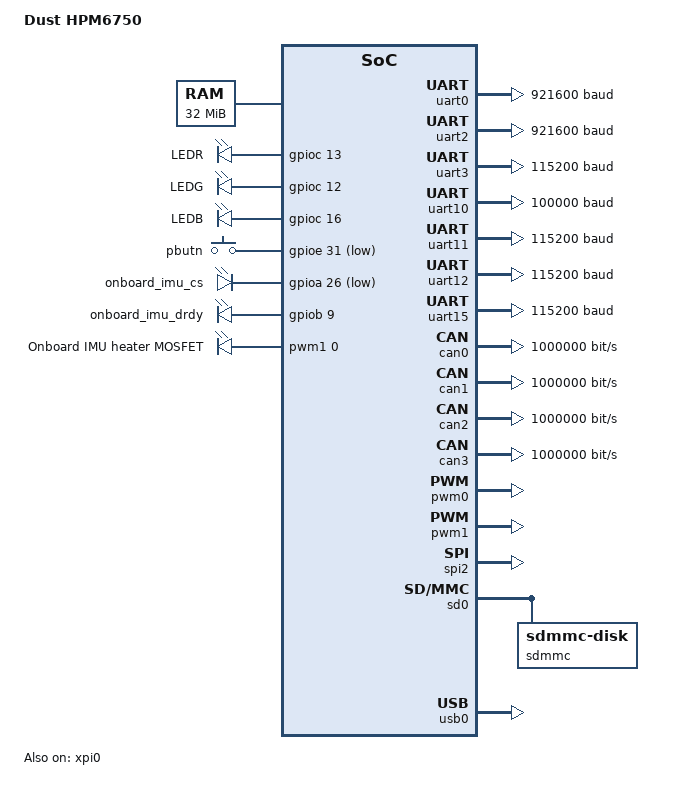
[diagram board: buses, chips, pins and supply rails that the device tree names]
/*
 * Copyright 2024-2025 HPMicro
 * SPDX-License-Identifier: Apache-2.0
 */

/dts-v1/;

#include <hpmicro/hpm6750.dtsi>
#include "dust-hpm6750-pinctrl.dtsi"
#include <zephyr/dt-bindings/display/panel.h>
#include <zephyr/dt-bindings/input/input-event-codes.h>
#include <zephyr/dt-bindings/pwm/pwm.h>

/ {
	model = "Dust HPM6750";
	compatible = "dust,hpm6750";

	aliases {
		led0 = &led_r;
		led1 = &led_g;
		led2 = &led_b;
		sw0 = &pbutn;
		canbus = &can2;
		sdhc0 = &sd0;
		coredump-partition = &coredump_partition;
		onboard-imu-cs = &onboard_imu_cs;
		onboard-imu-drdy = &onboard_imu_drdy;
		onboard-imu-heater = &onboard_imu_heater;
	};

	chosen {
		zephyr,console = &uart0;
		zephyr,shell-uart = &uart0;
		zephyr,sram = &sram;
		zephyr,flash = &flash0;
		zephyr,itcm = &ilm;
		zephyr,dtcm = &dlm;
		zephyr,code-partition = &slot0_partition;
		zephyr,flash-controller = &xpi0;
		zephyr,canbus = &can2;
		wbr-control,remote-input-uart = &uart10;
		wbr-control,oscilloscope-uart = &uart0;
		wbr-control,hi91-uart = &uart2;
		wbr-control,onboard-imu-spi = &spi2;
	};

	dram: memory@40000000 {
		device_type = "memory";
		reg = <0x40000000 DT_SIZE_M(32)>;
	};

	leds {
		compatible = "gpio-leds";
		led_r: led_r {
			gpios = <&gpioc 13 (GPIO_PULL_DOWN | GPIO_ACTIVE_HIGH)>;
			label = "LEDR";
		};
		led_g: led_g {
			gpios = <&gpioc 12 (GPIO_PULL_DOWN | GPIO_ACTIVE_HIGH)>;
			label = "LEDG";
		};
		led_b: led_b {
			gpios = <&gpioc 16 (GPIO_PULL_DOWN | GPIO_ACTIVE_HIGH)>;
			label = "LEDB";
		};
	};

	gpio_keys {
		compatible = "gpio-keys";
		pbutn: pbutn {
			gpios = <&gpioe 31 (GPIO_PULL_UP | GPIO_ACTIVE_LOW)>;
			zephyr,code = <INPUT_KEY_0>;
		};
	};

	onboard_imu_gpios {
		compatible = "gpio-leds";

		onboard_imu_cs: onboard_imu_cs {
			gpios = <&gpioa 26 GPIO_ACTIVE_LOW>;
		};

		/* ICM42688P-HXY INT1: active-high data-ready input. */
		onboard_imu_drdy: onboard_imu_drdy {
			gpios = <&gpiob 9 GPIO_ACTIVE_HIGH>;
		};
	};

	pwm_outputs {
		compatible = "pwm-leds";
		onboard_imu_heater: onboard_imu_heater {
			pwms = <&pwm1 0 PWM_KHZ(20) PWM_POLARITY_NORMAL>;
			label = "Onboard IMU heater MOSFET";
		};
	};

};

&rgb0 {
	endpoint_in = <&lcdc0>;
};



&uart0 {
	status = "okay";
	current-speed = <921600>;
	pinctrl-0 = <&pinmux_uart0>;
	pinctrl-names = "default";
	interrupts = <31 1>;
	interrupt-names = "uart";
	/*
	 * UART0 carries VOFA telemetry. HDMA channels are fully occupied by
	 * SPI2, UART2, UART3 and UART10, so use free XDMA channels 0/1.
	 * HPM6750 DMAMUX sources 8 and 9 are UART0 RX and TX respectively.
	 */
	dmas = <&xdma 0 8>, <&xdma 1 9>;
	dma-names = "rx", "tx";
};

&uart2 {
	status = "okay";
	current-speed = <921600>;
	pinctrl-0 = <&pinmux_uart2>;
	pinctrl-names = "default";
	interrupts = <33 1>;
	interrupt-names = "uart";
	dmas = <&hdma 2 12>, <&hdma 3 13>;
	dma-names = "rx", "tx";
};

&uart3 {
	status = "okay";
	current-speed = <115200>;
	pinctrl-0 = <&pinmux_uart3>;
	pinctrl-names = "default";
	interrupts = <34 1>;
	interrupt-names = "uart";
	dmas = <&hdma 4 14>, <&hdma 5 15>;
	dma-names = "rx", "tx";
};

&uart10 {
	status = "okay";
	current-speed = <100000>;
	parity = "even";
	stop-bits = "2";
	pinctrl-0 = <&pinmux_uart10>;
	pinctrl-names = "default";
	interrupts = <41 1>;
	interrupt-names = "uart";
	dmas = <&hdma 6 28>, <&hdma 7 29>;
	dma-names = "rx", "tx";
};

&uart11 {
	status = "okay";
	current-speed = <115200>;
	pinctrl-0 = <&pinmux_uart11>;
	pinctrl-names = "default";
	interrupts = <42 1>;
	interrupt-names = "uart";
};

&uart12 {
	status = "okay";
	current-speed = <115200>;
	pinctrl-0 = <&pinmux_uart12>;
	pinctrl-names = "default";
	interrupts = <43 1>;
	interrupt-names = "uart";
	dmas = <&xdma 2 32>, <&xdma 3 33>;
	dma-names = "rx", "tx";
};

&uart15 {
	status = "okay";
	current-speed = <115200>;
	pinctrl-0 = <&pinmux_uart15>;
	pinctrl-names = "default";
	interrupts = <46 1>;
	interrupt-names = "uart";
};

&can0 {
	status = "okay";
	pinctrl-0 = <&pinmux_can0>;
	pinctrl-names = "default";
	bitrate = <1000000>;
	can-transceiver {
		max-bitrate = <8000000>;
	};
};

&can1 {
	status = "okay";
	pinctrl-0 = <&pinmux_can1>;
	pinctrl-names = "default";
	bitrate = <1000000>;
	can-transceiver {
		max-bitrate = <8000000>;
	};
};

&can2 {
	status = "okay";
	pinctrl-0 = <&pinmux_can2>;
	pinctrl-names = "default";
	bitrate = <1000000>;
	can-transceiver {
		max-bitrate = <8000000>;
	};
};

&can3 {
	status = "okay";
	pinctrl-0 = <&pinmux_can3>;
	pinctrl-names = "default";
	bitrate = <1000000>;
	can-transceiver {
		max-bitrate = <8000000>;
	};
};


&pwm0 {
	status = "okay";
	pinctrl-0 = <&pinmux_pwm0>;
	pinctrl-names = "default";
	period-init = <100>;
	dead-zone-in-half-cycle = <0>;
};

&pwm1 {
	status = "okay";
	pinctrl-0 = <&pinmux_pwm1_imu_heater>;
	pinctrl-names = "default";
	period-init = <100>;
	dead-zone-in-half-cycle = <0>;
};

&gpiob {
	pinctrl-0 = <&pinmux_gpiob>;
	pinctrl-names = "default";
	status = "okay";
};

&gpioa {
	pinctrl-0 = <&pinmux_gpioa_onboard_imu_cs>;
	pinctrl-names = "default";
	status = "okay";
};

&gpioe {
	pinctrl-0 = <&pinmux_gpioe>;
	pinctrl-names = "default";
	status = "okay";
};

&gpiof {
	pinctrl-0 = <&pinmux_gpiof>;
	pinctrl-names = "default";
	status = "okay";
};

&gpioz {
	pinctrl-0 = <&pinmux_gpioz>;
	pinctrl-names = "default";
	status = "okay";
};

&gpioy {
	pinctrl-0 = <&pinmux_gpioy>;
	pinctrl-names = "default";
	status = "okay";
};

&spi2 {
	status = "okay";
	pinctrl-0 = <&pinmux_spi2>;
	pinctrl-names = "default";
	/* HDMA channels 0 and 1, muxed to SPI2 RX and TX */
	dmas = <&hdma 0 4>, <&hdma 1 5>;
	dma-names = "rx", "tx";
};

&sd0 {
	status = "okay";
	pinctrl-0 = <&pinmux_sd>;
	pinctrl-1 = <&pinmux_sd>;
	pinctrl-2 = <&pinmux_sd>;
	pinctrl-3 = <&pinmux_sd>;
	pinctrl-4 = <&pinmux_sd>;
	pinctrl-names = "default", "slow", "med", "fast", "nopull";
	power-delay-ms = <100>;
	pwr-3v3-support;
	embedded-4-bit-support;

	sdmmc {
		compatible = "zephyr,sdmmc-disk";
		status = "okay";
	};
};

&hdma {
	status = "okay";
};

&xdma {
	status = "okay";
};

&xpi0 {
	status = "okay";
	flash0: flash@0 {
		compatible = "hpmicro,hpmicro-flash", "soc-nv-flash";
		reg = <0x80000000 DT_SIZE_M(16)>;
		status = "okay";
		erase-block-size = <4096>;
		write-block-size = <1>;
		nor-cfg-opt-hdr = <0xfcf90002>;
		nor-cfg-opt-opt0 = <0x00000007>;
		nor-cfg-opt-opt1 = <0x00000100>;

		partitions {
			compatible = "fixed-partitions";
			#address-cells = <1>;
			#size-cells = <1>;

			boot_partition: partition@0 {
				label = "mcuboot";
				reg = <0x3000 0x40000>;
			};

			slot0_partition: partition@43000 {
				label = "image-0";
				reg = <0x43000 DT_SIZE_K(1536)>;
			};

			slot1_partition: partition@1c3000 {
				label = "image-1";
				reg = <0x1c3000 DT_SIZE_K(1536)>;
			};

			scratch_partition: partition@343000 {
				label = "image-scratch";
				reg = <0x343000 DT_SIZE_K(128)>;
			};

			storage_partition: partition@363000 {
				label = "storage";
				reg = <0x363000 DT_SIZE_K(128)>;
			};

			coredump_partition: partition@383000 {
				label = "coredump-partition";
				reg = <0x383000 DT_SIZE_K(128)>;
			};
		};
	};
};

&usb0 {
	pinctrl-0 = <&pinmux_usb0>;
	pinctrl-names = "default";
};

&usb1 {
	pinctrl-0 = <&pinmux_usb1>;
	pinctrl-names = "default";
};

zephyr_udc0: &usb0 {
	compatible = "hpmicro,hpm-udc";
	status = "disabled";
};

cherryusb_usb0: &usb0 {
	compatible = "hpmicro,hpm-cherryusb";
	status = "okay";
};
